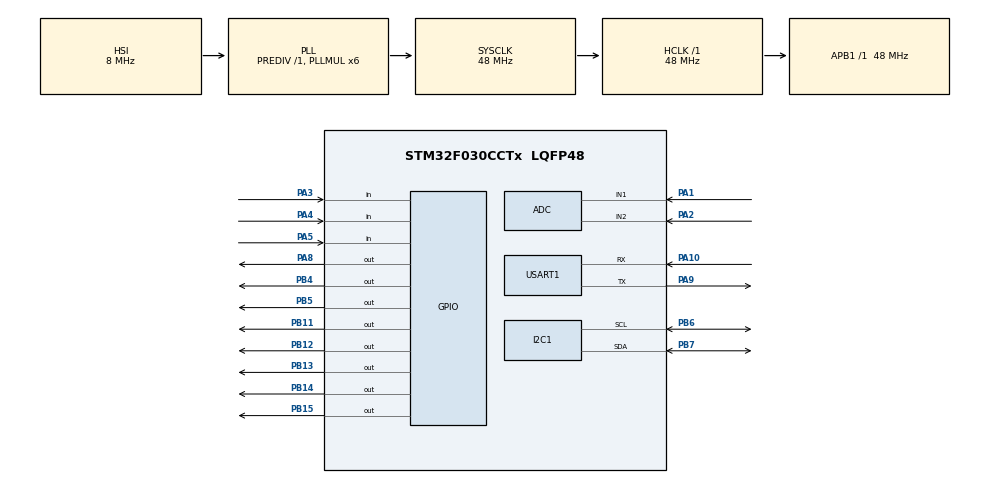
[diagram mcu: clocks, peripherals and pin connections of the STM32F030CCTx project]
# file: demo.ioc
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ADC.DiscontinuousConvMode=ENABLE
FREERTOS.Tasks01=defaultTask,24,128,StartDefaultTask,Default,NULL,Dynamic,NULL,NULL
I2C1.Timing=0x00201D2B
Mcu.Family=STM32F0
Mcu.Name=STM32F030CCTx
Mcu.Package=LQFP48
NVIC.USART1_IRQn=true\:3\:0\:false\:false\:true\:true\:true\:true\:true
PA1.Mode=IN1
PA1.Signal=ADC_IN1
PA10.Mode=Asynchronous
PA10.Signal=USART1_RX
PA13.Mode=Serial_Wire
PA13.Signal=SYS_SWDIO
PA14.Mode=Serial_Wire
PA14.Signal=SYS_SWCLK
PA2.Mode=IN2
PA2.Signal=ADC_IN2
PA3.Signal=GPIO_Input
PA4.Signal=GPIO_Input
PA5.Signal=GPIO_Input
PA8.Signal=GPIO_Output
PA9.Mode=Asynchronous
PA9.Signal=USART1_TX
PB11.Signal=GPIO_Output
PB12.Signal=GPIO_Output
PB13.Signal=GPIO_Output
PB14.Signal=GPIO_Output
PB15.Signal=GPIO_Output
PB4.Signal=GPIO_Output
PB5.Signal=GPIO_Output
PB6.Mode=I2C
PB6.Signal=I2C1_SCL
PB7.Mode=I2C
PB7.Signal=I2C1_SDA
ProjectManager.HeapSize=0x200
ProjectManager.StackSize=0x400
ProjectManager.TargetToolchain=MDK-ARM V5.32
RCC.AHBFreq_Value=48000000
RCC.APB1Freq_Value=48000000
RCC.APB1TimFreq_Value=48000000
RCC.HCLKFreq_Value=48000000
RCC.PLLMUL=RCC_PLL_MUL6
RCC.SYSCLKFreq_VALUE=48000000
RCC.SYSCLKSource=RCC_SYSCLKSOURCE_PLLCLK
USART1.VirtualMode-Asynchronous=VM_ASYNC
VP_FREERTOS_VS_CMSIS_V2.Mode=CMSIS_V2
board=custom

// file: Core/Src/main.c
/* USER CODE BEGIN Header */
/**
  ******************************************************************************
  * @file           : main.c
  * @brief          : Main program body
  ******************************************************************************
  * @attention
  *
  * Copyright (c) 2026 STMicroelectronics.
  * All rights reserved.
  *
  * This software is licensed under terms that can be found in the LICENSE file
  * in the root directory of this software component.
  * If no LICENSE file comes with this software, it is provided AS-IS.
  *
  ******************************************************************************
  */
/* USER CODE END Header */
#include "main.h"
#include "cmsis_os.h"
#include "adc.h"
#include "i2c.h"
#include "usart.h"
#include "gpio.h"

void SystemClock_Config(void);
void MX_FREERTOS_Init(void);

int main(void)
{

  /* MCU Configuration--------------------------------------------------------*/

  /* Reset of all peripherals, Initializes the Flash interface and the Systick. */
  HAL_Init();

  /* Configure the system clock */
  SystemClock_Config();

  /* Initialize all configured peripherals */
  MX_GPIO_Init();
  MX_USART1_UART_Init();
  MX_ADC_Init();
  MX_I2C1_Init();

  /* Init scheduler */
  osKernelInitialize();  /* Call init function for freertos objects (in cmsis_os2.c) */
  MX_FREERTOS_Init();

  /* Start scheduler */
  osKernelStart();

  /* We should never get here as control is now taken by the scheduler */

  /* Infinite loop */
  while (1)
  {

  }
}

void SystemClock_Config(void)
{
  RCC_OscInitTypeDef RCC_OscInitStruct = {0};
  RCC_ClkInitTypeDef RCC_ClkInitStruct = {0};
  RCC_PeriphCLKInitTypeDef PeriphClkInit = {0};

  /** Initializes the RCC Oscillators according to the specified parameters
  * in the RCC_OscInitTypeDef structure.
  */
  RCC_OscInitStruct.OscillatorType = RCC_OSCILLATORTYPE_HSI|RCC_OSCILLATORTYPE_HSI14;
  RCC_OscInitStruct.HSIState = RCC_HSI_ON;
  RCC_OscInitStruct.HSI14State = RCC_HSI14_ON;
  RCC_OscInitStruct.HSICalibrationValue = RCC_HSICALIBRATION_DEFAULT;
  RCC_OscInitStruct.HSI14CalibrationValue = 16;
  RCC_OscInitStruct.PLL.PLLState = RCC_PLL_ON;
  RCC_OscInitStruct.PLL.PLLSource = RCC_PLLSOURCE_HSI;
  RCC_OscInitStruct.PLL.PLLMUL = RCC_PLL_MUL6;
  RCC_OscInitStruct.PLL.PREDIV = RCC_PREDIV_DIV1;
  if (HAL_RCC_OscConfig(&RCC_OscInitStruct) != HAL_OK)
  {
    Error_Handler();
  }

  /** Initializes the CPU, AHB and APB buses clocks
  */
  RCC_ClkInitStruct.ClockType = RCC_CLOCKTYPE_HCLK|RCC_CLOCKTYPE_SYSCLK
                              |RCC_CLOCKTYPE_PCLK1;
  RCC_ClkInitStruct.SYSCLKSource = RCC_SYSCLKSOURCE_PLLCLK;
  RCC_ClkInitStruct.AHBCLKDivider = RCC_SYSCLK_DIV1;
  RCC_ClkInitStruct.APB1CLKDivider = RCC_HCLK_DIV1;

  if (HAL_RCC_ClockConfig(&RCC_ClkInitStruct, FLASH_LATENCY_1) != HAL_OK)
  {
    Error_Handler();
  }
  PeriphClkInit.PeriphClockSelection = RCC_PERIPHCLK_USART1|RCC_PERIPHCLK_I2C1;
  PeriphClkInit.Usart1ClockSelection = RCC_USART1CLKSOURCE_PCLK1;
  PeriphClkInit.I2c1ClockSelection = RCC_I2C1CLKSOURCE_HSI;
  if (HAL_RCCEx_PeriphCLKConfig(&PeriphClkInit) != HAL_OK)
  {
    Error_Handler();
  }
}

void Error_Handler(void)
{
  __disable_irq();
  while (1)
  {
  }
}

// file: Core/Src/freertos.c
/* USER CODE BEGIN Header */
/**
  ******************************************************************************
  * File Name          : freertos.c
  * Description        : Code for freertos applications
  ******************************************************************************
  * @attention
  *
  * Copyright (c) 2026 STMicroelectronics.
  * All rights reserved.
  *
  * This software is licensed under terms that can be found in the LICENSE file
  * in the root directory of this software component.
  * If no LICENSE file comes with this software, it is provided AS-IS.
  *
  ******************************************************************************
  */
/* USER CODE END Header */

#include "FreeRTOS.h"
#include "task.h"
#include "main.h"
#include "cmsis_os.h"

/* USER CODE BEGIN Includes */
#include "uart_device.h"
#include "modbus.h"
#include "errno.h"
#include "modbus-rtu.h"
#include <string.h>
/* USER CODE END Includes */

/* USER CODE BEGIN PD */
#define USE_TMP_HUMI_SENSOR  0
#define USE_ENV_MONITOR_SENSOR  0
#define USE_SWITCH_SENSOR       1

#if USE_TMP_HUMI_SENSOR
extern ADC_HandleTypeDef hadc;
static void aht20_get_datas(uint16_t *h, uint16_t *t);
#define SLAVE_ADDR          3
#define NB_BITS             5
#define NB_INPUT_BITS       0
#define NB_REGISTERS        0
#define NB_INPUT_REGISTERS  2
#endif

#if USE_ENV_MONITOR_SENSOR
extern ADC_HandleTypeDef hadc;
#define SLAVE_ADDR          2
#define NB_BITS             5
#define NB_INPUT_BITS       0
#define NB_REGISTERS        0
#define NB_INPUT_REGISTERS  2
#endif

#if USE_SWITCH_SENSOR
#define SLAVE_ADDR          1
#define NB_BITS             5
#define NB_INPUT_BITS       3
#define NB_REGISTERS        0
#define NB_INPUT_REGISTERS  0
#endif

/* USER CODE END PD */

/* Definitions for defaultTask */
osThreadId_t defaultTaskHandle;
const osThreadAttr_t defaultTask_attributes = {
  .name = "defaultTask",
  .stack_size = 128 * 4,
  .priority = (osPriority_t) osPriorityNormal,
};

/* USER CODE BEGIN FunctionPrototypes */
#if USE_TMP_HUMI_SENSOR
void ATH20Task(void *argument);
#endif
/* USER CODE END FunctionPrototypes */

void StartDefaultTask(void *argument);

void MX_FREERTOS_Init(void); /* (MISRA C 2004 rule 8.1) */

void MX_FREERTOS_Init(void) {

  /* Create the thread(s) */
  /* creation of defaultTask */
  defaultTaskHandle = osThreadNew(StartDefaultTask, NULL, &defaultTask_attributes);

  /* USER CODE BEGIN RTOS_THREADS */
  /* add threads, ... */
#if USE_TMP_HUMI_SENSOR
  osThreadNew(ATH20Task, NULL, &defaultTask_attributes);
#endif
  /* USER CODE END RTOS_THREADS */

}

/* USER CODE BEGIN Header_StartDefaultTask */
#if USE_TMP_HUMI_SENSOR
//**********************************************************//
//CRC校验类型： CRC8
//多项式： X8+X5+X4+1
//Poly:0011 0001 0x31
unsigned char Calc_CRC8(unsigned char *message,unsigned char Num)
{
    unsigned char i;
    unsigned char byte;
    unsigned char crc =0xFF;
    for (byte = 0;byte<Num;byte++)
    {
        crc^=(message[byte]);
        for(i=8;i>0;--i)
        {
            if(crc&0x80)
                crc=(crc<<1)^0x31;
            else
                crc=(crc<<1);
        }
    }
    return crc;
}//**********************************************************//
static uint32_t g_humi, g_tmp;

static void aht20_get_datas(uint16_t *h, uint16_t *t)
{
    *h = g_humi;
    *t = g_tmp;
}

void ATH20Task(void *argument)
{
    uint8_t cmd[] = {0xac, 0x33, 0x00};
    uint8_t datas[7] = {0};
    unsigned char crc;
    extern I2C_HandleTypeDef hi2c1;
    vTaskDelay(10);              //上电后等待5ms
    while(1)
    {
        if(HAL_OK == HAL_I2C_Master_Transmit(&hi2c1, 0x70, cmd, 3, 100))
        {
            vTaskDelay(100);    //等待80ms以上
            if(HAL_OK == HAL_I2C_Master_Receive(&hi2c1, 0x71, datas, 7, 100))
            {
                //计算CRC
                crc = Calc_CRC8(datas, 6);
                if (crc == datas[6])
                {
                    /*ok*/
                    g_humi = ((uint32_t)datas[1] << 12) | ((uint32_t)datas[2] << 4) | ((uint32_t)datas[3] >> 4);
                    g_tmp = (((uint32_t)datas[3]&0x0f)  << 16) | ((uint32_t)datas[4] << 8) | ((uint32_t)datas[5]);
                    g_humi = (g_humi * 100 / 0x100000) * 10;    // 0.1%
                    g_tmp = (g_tmp * 200 / 0x100000 - 50) * 10; //0.1C
                }
            }
        }
        vTaskDelay(20);
    }
}
#endif
/**
  * @brief  Function implementing the defaultTask thread.
  * @param  argument: Not used
  * @retval None
  */
/* USER CODE END Header_StartDefaultTask */
void StartDefaultTask(void *argument)
{
  /* USER CODE BEGIN StartDefaultTask */
  /* Infinite loop */

    GPIO_PinState val;

    uint8_t *query;
	modbus_t *ctx;
	int rc;
	modbus_mapping_t *mb_mapping;

#if USE_ENV_MONITOR_SENSOR
    HAL_ADCEx_Calibration_Start(&hadc);
#endif
	ctx = modbus_new_st_rtu("uart1", 115200, 'N', 8, 1);
	modbus_set_slave(ctx, SLAVE_ADDR);
	query = pvPortMalloc(MODBUS_RTU_MAX_ADU_LENGTH);

	mb_mapping = modbus_mapping_new_start_address(0, NB_BITS, 0, NB_INPUT_BITS, 0, NB_REGISTERS, 0, NB_INPUT_REGISTERS);

	memset(mb_mapping->tab_bits, 0, mb_mapping->nb_bits);
	memset(mb_mapping->tab_registers, 0x55, mb_mapping->nb_registers*2);

	rc = modbus_connect(ctx);
	if (rc == -1) {
		//fprintf(stderr, "Unable to connect %s\n", modbus_strerror(errno));
		modbus_free(ctx);
		vTaskDelete(NULL);;
	}

	for (;;) {
		do {
			rc = modbus_receive(ctx, query);
			/* Filtered queries return 0 */
		} while (rc == 0);

		/* The connection is not closed on errors which require on reply such as
		   bad CRC in RTU. */
		if (rc == -1 && errno != EMBBADCRC) {
			/* Quit */
			continue;
		}

        /* updata value of registers
         * a.read gpio
         * b.updata registers
         */
#if USE_SWITCH_SENSOR
        /*key 1*/
        val = HAL_GPIO_ReadPin(GPIOA, GPIO_PIN_3);
        if(val ==  GPIO_PIN_RESET)
            mb_mapping->tab_input_bits[0] = 1;
        else
            mb_mapping->tab_input_bits[0] = 0;
        /*key 2*/
        val = HAL_GPIO_ReadPin(GPIOA, GPIO_PIN_4);
        if(val ==  GPIO_PIN_RESET)
            mb_mapping->tab_input_bits[1] = 1;
        else
            mb_mapping->tab_input_bits[1] = 0;
        /*key 3*/
        val = HAL_GPIO_ReadPin(GPIOA, GPIO_PIN_5);
        if(val ==  GPIO_PIN_RESET)
            mb_mapping->tab_input_bits[2] = 1;
        else
            mb_mapping->tab_input_bits[2] = 0;
#endif
#if USE_ENV_MONITOR_SENSOR
        /* read ADC to updata tab_input_registers */
        for (int i = 0; i < 2; i++)
        {
            HAL_ADC_Start(&hadc);
            if (HAL_OK == HAL_ADC_PollForConversion(&hadc, 100))
            {
                mb_mapping->tab_input_registers[i] = HAL_ADC_GetValue(&hadc);
            }
        }
#endif
#if USE_TMP_HUMI_SENSOR
        /* can not start iic to capture, it takes up  80ms，too long  */
        uint16_t tmp, humi;
        aht20_get_datas(&tmp, &humi);
        mb_mapping->tab_input_registers[0] = tmp;
        mb_mapping->tab_input_registers[1] = humi;
#endif
		rc = modbus_reply(ctx, query, rc, mb_mapping);
		if (rc == -1) {
			//break;
		}
#if USE_SWITCH_SENSOR
        /* switch 1 */
		if (mb_mapping->tab_bits[0])
			HAL_GPIO_WritePin(GPIOB, GPIO_PIN_5, GPIO_PIN_SET);
        else
            HAL_GPIO_WritePin(GPIOB, GPIO_PIN_5, GPIO_PIN_RESET);
        /* switch 2 */
		if (mb_mapping->tab_bits[1])
			HAL_GPIO_WritePin(GPIOB, GPIO_PIN_4, GPIO_PIN_SET);
        else
            HAL_GPIO_WritePin(GPIOB, GPIO_PIN_4, GPIO_PIN_RESET);
        /* led 1*/
        if (mb_mapping->tab_bits[2])
			HAL_GPIO_WritePin(GPIOB, GPIO_PIN_11, GPIO_PIN_SET);
        else
            HAL_GPIO_WritePin(GPIOB, GPIO_PIN_11, GPIO_PIN_RESET);
        /* led 2*/
        if (mb_mapping->tab_bits[3])
			HAL_GPIO_WritePin(GPIOB, GPIO_PIN_12, GPIO_PIN_SET);
        else
            HAL_GPIO_WritePin(GPIOB, GPIO_PIN_12, GPIO_PIN_RESET);
        /* led 3*/
        if (mb_mapping->tab_bits[4])
			HAL_GPIO_WritePin(GPIOB, GPIO_PIN_13, GPIO_PIN_SET);
        else
            HAL_GPIO_WritePin(GPIOB, GPIO_PIN_13, GPIO_PIN_RESET);
#endif
#if USE_ENV_MONITOR_SENSOR
        /* beep 1 */
		if (mb_mapping->tab_bits[0])
			HAL_GPIO_WritePin(GPIOB, GPIO_PIN_15, GPIO_PIN_SET);
        else
            HAL_GPIO_WritePin(GPIOB, GPIO_PIN_15, GPIO_PIN_RESET);
        /* beep 2 */
		if (mb_mapping->tab_bits[1])
			HAL_GPIO_WritePin(GPIOB, GPIO_PIN_14, GPIO_PIN_SET);
        else
            HAL_GPIO_WritePin(GPIOB, GPIO_PIN_14, GPIO_PIN_RESET);
        /* led 1*/
        if (mb_mapping->tab_bits[2])
			HAL_GPIO_WritePin(GPIOB, GPIO_PIN_11, GPIO_PIN_SET);
        else
            HAL_GPIO_WritePin(GPIOB, GPIO_PIN_11, GPIO_PIN_RESET);
        /* led 2*/
        if (mb_mapping->tab_bits[3])
			HAL_GPIO_WritePin(GPIOB, GPIO_PIN_12, GPIO_PIN_SET);
        else
            HAL_GPIO_WritePin(GPIOB, GPIO_PIN_12, GPIO_PIN_RESET);
        /* led 3*/
        if (mb_mapping->tab_bits[4])
			HAL_GPIO_WritePin(GPIOB, GPIO_PIN_13, GPIO_PIN_SET);
        else
            HAL_GPIO_WritePin(GPIOB, GPIO_PIN_13, GPIO_PIN_RESET);
#endif
#if USE_TMP_HUMI_SENSOR
        /* can not start iic to capture, it takes up  80ms，too long  */
        /* beep 1 */
		if (mb_mapping->tab_bits[0])
			HAL_GPIO_WritePin(GPIOB, GPIO_PIN_15, GPIO_PIN_SET);
        else
            HAL_GPIO_WritePin(GPIOB, GPIO_PIN_15, GPIO_PIN_RESET);
        /* beep 2 */
		if (mb_mapping->tab_bits[1])
			HAL_GPIO_WritePin(GPIOB, GPIO_PIN_14, GPIO_PIN_SET);
        else
            HAL_GPIO_WritePin(GPIOB, GPIO_PIN_14, GPIO_PIN_RESET);
        /* led 1*/
        if (mb_mapping->tab_bits[2])
			HAL_GPIO_WritePin(GPIOB, GPIO_PIN_11, GPIO_PIN_SET);
        else
            HAL_GPIO_WritePin(GPIOB, GPIO_PIN_11, GPIO_PIN_RESET);
        /* led 2*/
        if (mb_mapping->tab_bits[3])
			HAL_GPIO_WritePin(GPIOB, GPIO_PIN_12, GPIO_PIN_SET);
        else
            HAL_GPIO_WritePin(GPIOB, GPIO_PIN_12, GPIO_PIN_RESET);
        /* led 3*/
        if (mb_mapping->tab_bits[4])
			HAL_GPIO_WritePin(GPIOB, GPIO_PIN_13, GPIO_PIN_SET);
        else
            HAL_GPIO_WritePin(GPIOB, GPIO_PIN_13, GPIO_PIN_RESET);
#endif
	}

  modbus_mapping_free(mb_mapping);
	vPortFree(query);
	/* For RTU */
	modbus_close(ctx);
	modbus_free(ctx);

	vTaskDelete(NULL);
  /* USER CODE END StartDefaultTask */
}
